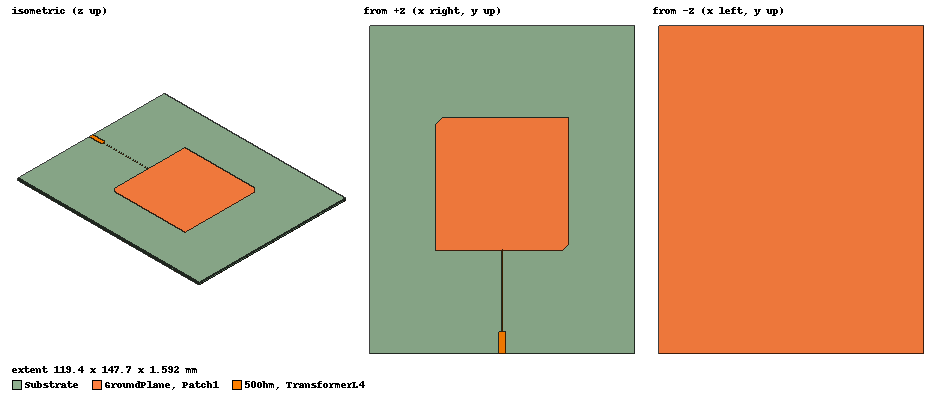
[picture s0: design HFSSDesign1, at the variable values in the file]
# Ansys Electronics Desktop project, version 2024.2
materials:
  vacuum: permittivity=1
  Arlon CuClad 217 (tm): permittivity=2.17 dielectric_loss_tangent=0.0009
  copper: permeability=0.999991 conductivity=58000000
  FR4_epoxy: permittivity=4.4 dielectric_loss_tangent=0.02

design HFSSDesign1 (HFSS, HFSS Terminal Network, model units mm)
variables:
  L = 59.7mm
  W = 59.8mm
  t = 0.036mm
  h = 1.52mm
  Ls = 36.6mm
  Ws = 0.26mm
  L50 = 10mm
  W50 = 3mm
  Wroh = 2mm
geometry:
  Patch = box(corner=(-L/2, -W/2, 0mm), size=(L, W, t))
  Substrate [FR4_epoxy] = box(corner=(-L, -W/2-Ls-L50, -h), size=(2*L, 2*L+Ls/2+L50, h))
  GroundPlane [copper] = box(corner=(-L, -W/2-Ls-L50, -h-t), size=(2*L, 2*L+Ls/2+L50, t))
  TransformerL4 [copper, solve inside] = box(corner=(-Ws/2, -L/2-Ls, 0mm), size=(Ws, Ls, t))
  50Ohm [copper] = box(corner=(-W50/2, -W/2-Ls-L50, 0mm), size=(W50, L50, t))
  Patch1 [copper, solve inside] = box(corner=(-L, -(W*1.414-2*Wroh)/2, 0mm), size=(2*L, W*1.414-2*Wroh, t))
  Patch1.rotate(axis=Z, angle=45deg)
  Patch1.intersect(Patch)
